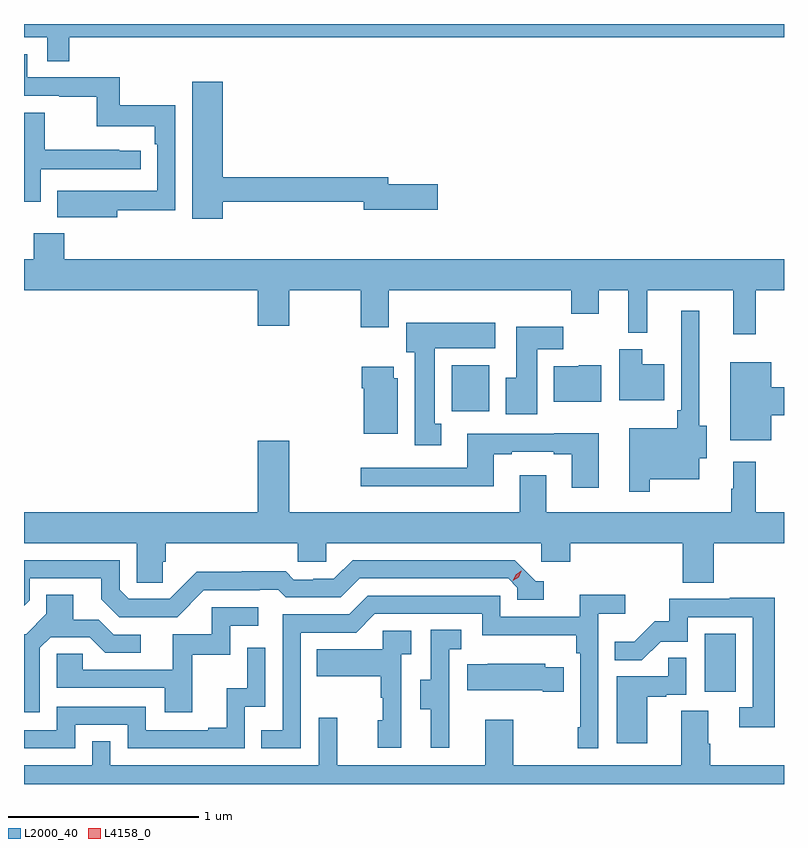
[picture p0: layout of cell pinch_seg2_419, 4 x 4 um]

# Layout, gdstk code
import gdstk
lib = gdstk.Library(unit=1e-6, precision=1e-09)
def R(c, l, rs):  # rectangles x0, y0, x1, y1
    for r in rs: c.add(gdstk.rectangle(r[:2], r[2:], *l))
def P(c, l, *ps):  # polygons
    for p in ps: c.add(gdstk.Polygon(p, *l))
L2000_40 = (2000, 40)
L4158_0 = (4158, 0)

pinch_seg2_419 = lib.new_cell('pinch_seg2_419')
R(pinch_seg2_419, L2000_40, [(934.592,622.878,934.756,623.185), (933.26,624.356,933.457,624.598)])
P(pinch_seg2_419, L2000_40, [(931.247,626.324),(935.009,626.324),(935.009,626.393),(931.009,626.393),(931.009,626.324),(931.131,626.324),(931.131,626.197),(931.247,626.197)],
  [(931.501,625.414),(931.806,625.414),(931.806,625.966),(931.513,625.966),(931.513,626.112),(931.026,626.112),(931.026,626.235),(931.009,626.235),(931.009,626.016),(931.195,626.016),(931.195,626.011),(931.392,626.011),(931.392,625.856),(931.697,625.856),(931.697,625.76),(931.71,625.76),(931.71,625.515),(931.397,625.515),(931.397,625.516),(931.183,625.516),(931.183,625.376),(931.501,625.376)],
  [(932.056,625.458),(932.798,625.458),(932.798,625.415),(933.187,625.415),(933.187,625.55),(932.926,625.55),(932.926,625.586),(932.056,625.586),(932.056,626.089),(931.895,626.089),(931.895,625.368),(932.056,625.368)],
  [(931.098,625.629),(931.624,625.629),(931.624,625.725),(931.511,625.725),(931.511,625.73),(931.118,625.73),(931.118,625.926),(931.009,625.926),(931.009,625.457),(931.098,625.457)],
  [(934.859,624.992),(935.009,624.992),(935.009,625.156),(931.22,625.156),(931.22,625.291),(931.06,625.291),(931.06,625.156),(931.009,625.156),(931.009,624.992),(932.24,624.992),(932.24,624.804),(932.404,624.804),(932.404,624.992),(932.782,624.992),(932.782,624.798),(932.929,624.798),(932.929,624.992),(933.889,624.992),(933.889,624.868),(934.033,624.868),(934.033,624.992),(934.19,624.992),(934.19,624.767),(934.289,624.767),(934.289,624.992),(934.742,624.992),(934.742,624.759),(934.859,624.759)],
  [(934.303,623.996),(934.564,623.996),(934.564,624.107),(934.603,624.107),(934.603,624.278),(934.564,624.278),(934.564,624.883),(934.467,624.883),(934.467,624.361),(934.447,624.361),(934.447,624.265),(934.194,624.265),(934.194,623.931),(934.303,623.931)],
  [(933.205,624.29),(933.172,624.29),(933.172,624.686),(933.49,624.686),(933.49,624.82),(933.02,624.82),(933.02,624.666),(933.065,624.666),(933.065,624.177),(933.205,624.177)],
  [(933.709,624.68),(933.848,624.68),(933.848,624.799),(933.599,624.799),(933.599,624.532),(933.545,624.532),(933.545,624.339),(933.709,624.339)],
  [(934.378,624.601),(934.264,624.601),(934.264,624.682),(934.142,624.682),(934.142,624.413),(934.378,624.413)],
  [(934.942,624.335),(935.009,624.335),(935.009,624.482),(934.942,624.482),(934.942,624.613),(934.727,624.613),(934.727,624.203),(934.942,624.203)],
  [(934.048,624.598),(933.93,624.598),(933.93,624.592),(933.797,624.592),(933.797,624.404),(934.048,624.404)],
  [(932.977,624.528),(932.956,624.528),(932.956,624.589),(932.786,624.589),(932.786,624.476),(932.798,624.476),(932.798,624.236),(932.977,624.236)],
  [(934.033,624.238),(933.801,624.238),(933.801,624.237),(933.341,624.237),(933.341,624.057),(932.781,624.057),(932.781,623.96),(933.481,623.96),(933.481,624.129),(933.577,624.129),(933.577,624.141),(933.797,624.141),(933.797,624.129),(933.893,624.129),(933.893,623.952),(934.033,623.952)],
  [(931.739,623.562),(931.754,623.562),(931.754,623.66),(932.451,623.66),(932.451,623.562),(932.601,623.562),(932.601,623.66),(933.732,623.66),(933.732,623.562),(933.884,623.562),(933.884,623.66),(934.475,623.66),(934.475,623.452),(934.64,623.452),(934.64,623.66),(935.009,623.66),(935.009,623.824),(934.859,623.824),(934.859,624.088),(934.742,624.088),(934.742,623.948),(934.731,623.948),(934.731,623.824),(933.757,623.824),(933.757,624.019),(933.617,624.019),(933.617,623.824),(932.404,623.824),(932.404,624.199),(932.24,624.199),(932.24,623.824),(931.009,623.824),(931.009,623.66),(931.602,623.66),(931.602,623.452),(931.739,623.452)],
  [(931.956,623.412),(932.249,623.412),(932.249,623.415),(932.348,623.415),(932.387,623.376),(932.676,623.376),(932.775,623.475),(933.558,623.475),(933.606,623.427),(933.606,623.364),(933.745,623.364),(933.745,623.46),(933.702,623.46),(933.591,623.571),(932.738,623.571),(932.639,623.472),(932.532,623.472),(932.532,623.469),(932.429,623.469),(932.387,623.512),(932.154,623.512),(932.154,623.509),(931.918,623.509),(931.776,623.367),(931.56,623.367),(931.512,623.415),(931.512,623.571),(931.009,623.571),(931.009,623.332),(931.038,623.361),(931.038,623.475),(931.415,623.475),(931.415,623.365),(931.509,623.271),(931.815,623.271)],
  [(931.092,623.109),(931.149,623.166),(931.355,623.166),(931.436,623.085),(931.624,623.085),(931.624,623.178),(931.482,623.178),(931.402,623.258),(931.267,623.258),(931.267,623.39),(931.127,623.39),(931.127,623.288),(931.02,623.181),(931.009,623.181),(931.009,622.77),(931.092,622.77)],
  [(932.466,623.19),(932.757,623.19),(932.856,623.289),(933.42,623.289),(933.42,623.177),(933.916,623.177),(933.916,623.081),(933.936,623.081),(933.936,622.693),(933.924,622.693),(933.924,622.581),(934.032,622.581),(934.032,623.288),(934.174,623.288),(934.174,623.39),(933.935,623.39),(933.935,623.274),(933.516,623.274),(933.516,623.385),(932.819,623.385),(932.72,623.286),(932.37,623.286),(932.37,622.677),(932.257,622.677),(932.257,622.581),(932.466,622.581)],
  [(934.961,623.372),(934.723,623.372),(934.723,623.367),(934.405,623.367),(934.405,623.25),(934.328,623.25),(934.221,623.143),(934.117,623.143),(934.117,623.044),(934.261,623.044),(934.359,623.142),(934.503,623.142),(934.503,623.271),(934.845,623.271),(934.845,622.797),(934.773,622.797),(934.773,622.692),(934.961,622.692)],
  [(931.895,623.073),(932.094,623.073),(932.094,623.226),(932.242,623.226),(932.242,623.322),(931.998,623.322),(931.998,623.181),(931.793,623.181),(931.793,622.995),(931.319,622.995),(931.319,623.079),(931.182,623.079),(931.182,622.899),(931.751,622.899),(931.751,622.77),(931.895,622.77)],
  [(933.248,622.797),(933.246,622.797),(933.246,623.101),(933.31,623.101),(933.31,623.204),(933.15,623.204),(933.15,622.941),(933.095,622.941),(933.095,622.786),(933.149,622.786),(933.149,622.584),(933.248,622.584)],
  [(932.994,623.075),(933.046,623.075),(933.046,623.199),(932.898,623.199),(932.898,623.101),(932.551,623.101),(932.551,622.961),(932.886,622.961),(932.886,622.847),(932.896,622.847),(932.896,622.728),(932.87,622.728),(932.87,622.584),(932.994,622.584)],
  [(931.278,622.704),(931.554,622.704),(931.554,622.581),(932.172,622.581),(932.172,622.8),(932.28,622.8),(932.28,623.11),(932.184,623.11),(932.184,622.898),(932.075,622.898),(932.075,622.69),(931.979,622.69),(931.979,622.677),(931.65,622.677),(931.65,622.8),(931.182,622.8),(931.182,622.677),(931.009,622.677),(931.009,622.581),(931.278,622.581)],
  [(934.288,622.851),(934.388,622.851),(934.388,622.863),(934.494,622.863),(934.494,623.057),(934.399,623.057),(934.399,622.959),(934.13,622.959),(934.13,622.608),(934.288,622.608)],
  [(933.851,623.008),(933.753,623.008),(933.753,623.026),(933.451,623.026),(933.451,623.023),(933.343,623.023),(933.343,622.886),(933.74,622.886),(933.74,622.879),(933.851,622.879)],
  [(935.009,622.492),(934.622,622.492),(934.622,622.604),(934.609,622.604),(934.609,622.778),(934.469,622.778),(934.469,622.492),(933.585,622.492),(933.585,622.732),(933.437,622.732),(933.437,622.492),(932.657,622.492),(932.657,622.741),(932.559,622.741),(932.559,622.492),(931.464,622.492),(931.464,622.619),(931.368,622.619),(931.368,622.492),(931.009,622.492),(931.009,622.393),(935.009,622.393)])
P(pinch_seg2_419, L4158_0, [(933.581,623.462),(933.581,623.462),(933.597,623.495),(933.627,623.515),(933.627,623.515),(933.627,623.514),(933.612,623.482),(933.582,623.462)])

lib.write_gds('pinch_seg2_419.gds')
